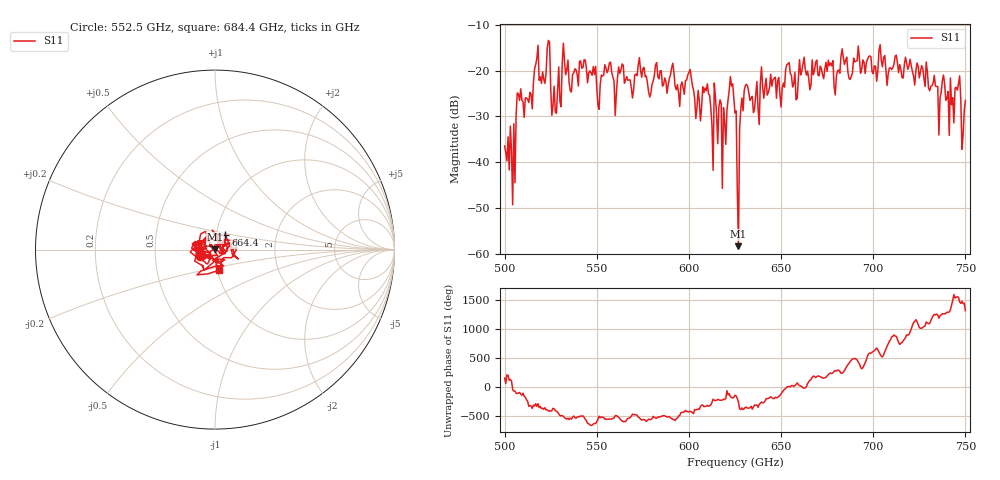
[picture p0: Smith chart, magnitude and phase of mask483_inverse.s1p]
!Created with skrf (http://scikit-rf.org).
# GHz S MA R 50.0
!freq magS11 angS11
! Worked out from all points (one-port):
!   401 points, 500 GHz to 750 GHz, reference 50 ohm
!   lowest |S11| = -58.3 dB at 626.9 GHz (marker M1), VSWR 1.00, Z = 50 + j0.121 ohm
!   |S11| at or under -10 dB: start of sweep to end of sweep
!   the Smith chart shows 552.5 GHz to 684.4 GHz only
!   S11 on the Smith chart (normalised r, x): 552.5 GHz: 0.85, -0.06; 664.4 GHz: 1.11, +0.18; 684.4 GHz: 1.02, -0.24
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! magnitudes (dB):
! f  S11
! 500 GHz  -36.4
! 505 GHz  -31.6
! 507.5 GHz  -25.1
! 513.8 GHz  -24.8
! 516.9 GHz  -18.7
! 523.8 GHz  -13.4
! 526.9 GHz  -23.4
! 531.2 GHz  -18.5
! 552.5 GHz  -21.0
! 562.5 GHz  -20.6
! 578.8 GHz  -25.8
! 590.6 GHz  -19.4
! 593.8 GHz  -23.1
! 610 GHz  -22.9
! 611.9 GHz  -28.1
! 619.4 GHz  -31.0
! 623.1 GHz  -23.4
! 625 GHz  -29.2
! 625.6 GHz  -28.8
! 626.9 GHz  -58.3
! 628.8 GHz  -26.0
! 631.2 GHz  -23.0
! 656.2 GHz  -23.6
! 664.4 GHz  -20.1
! 684.4 GHz  -18.6
! 687.5 GHz  -21.9
! 718.8 GHz  -19.7
! 750 GHz  -26.5
